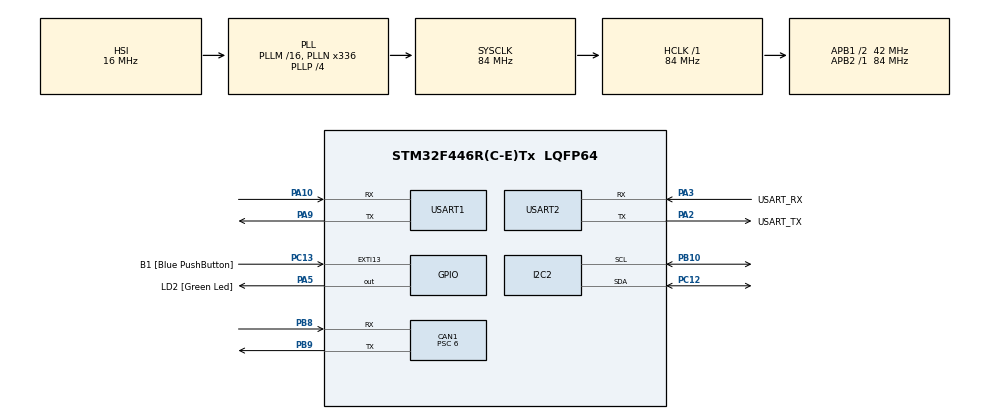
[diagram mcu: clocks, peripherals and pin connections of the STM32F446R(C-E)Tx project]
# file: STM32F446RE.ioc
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CAN1.BS1=CAN_BS1_11TQ
CAN1.BS2=CAN_BS2_2TQ
CAN1.CalculateBaudRate=500000
CAN1.CalculateTimeBit=2000
CAN1.CalculateTimeQuantum=142.85714285714286
CAN1.Prescaler=6
CAN1.SJW=CAN_SJW_1TQ
Mcu.Family=STM32F4
Mcu.Name=STM32F446R(C-E)Tx
Mcu.Package=LQFP64
NVIC.PriorityGroup=NVIC_PRIORITYGROUP_0
NVIC.USART1_IRQn=true\:0\:0\:false\:false\:true\:true\:true\:true
PA10.Mode=Asynchronous
PA10.Signal=USART1_RX
PA13.GPIO_Label=TMS
PA13.Mode=Serial_Wire
PA13.Signal=SYS_JTMS-SWDIO
PA14.GPIO_Label=TCK
PA14.Mode=Serial_Wire
PA14.Signal=SYS_JTCK-SWCLK
PA2.GPIO_Label=USART_TX
PA2.Mode=Asynchronous
PA2.Signal=USART2_TX
PA3.GPIO_Label=USART_RX
PA3.Mode=Asynchronous
PA3.Signal=USART2_RX
PA5.GPIO_Label=LD2 [Green Led]
PA5.Signal=GPIO_Output
PA9.Mode=Asynchronous
PA9.Signal=USART1_TX
PB10.Mode=I2C
PB10.Signal=I2C2_SCL
PB3.GPIO_Label=SWO
PB3.Signal=SYS_JTDO-SWO
PB8.GPIO_Speed=GPIO_SPEED_FREQ_HIGH
PB8.Mode=CAN_Activate
PB8.Signal=CAN1_RX
PB9.GPIO_PuPd=GPIO_NOPULL
PB9.GPIO_Speed=GPIO_SPEED_FREQ_HIGH
PB9.Mode=CAN_Activate
PB9.Signal=CAN1_TX
PC12.Mode=I2C
PC12.Signal=I2C2_SDA
PC13.GPIO_Label=B1 [Blue PushButton]
PC13.GPIO_ModeDefaultEXTI=GPIO_MODE_IT_FALLING
PC13.Signal=GPXTI13
PC14-OSC32_IN.Mode=LSE-External-Oscillator
PC14-OSC32_IN.Signal=RCC_OSC32_IN
PC15-OSC32_OUT.Mode=LSE-External-Oscillator
PC15-OSC32_OUT.Signal=RCC_OSC32_OUT
PH0-OSC_IN.Mode=HSE-External-Oscillator
PH0-OSC_IN.Signal=RCC_OSC_IN
PH1-OSC_OUT.Mode=HSE-External-Oscillator
PH1-OSC_OUT.Signal=RCC_OSC_OUT
ProjectManager.HeapSize=0x200
ProjectManager.StackSize=0x400
ProjectManager.TargetToolchain=CMake
RCC.48MHZClocksFreq_Value=84000000
RCC.AHBFreq_Value=84000000
RCC.APB1CLKDivider=RCC_HCLK_DIV2
RCC.APB1Freq_Value=42000000
RCC.APB1TimFreq_Value=84000000
RCC.APB2Freq_Value=84000000
RCC.APB2TimFreq_Value=84000000
RCC.CortexFreq_Value=84000000
RCC.FLatency-AdvancedSettings=FLASH_LATENCY_2
RCC.HCLKFreq_Value=84000000
RCC.HSE_VALUE=8000000
RCC.HSI_VALUE=16000000
RCC.PLLN=336
RCC.PLLP=RCC_PLLP_DIV4
RCC.SYSCLKFreq_VALUE=84000000
RCC.SYSCLKSource=RCC_SYSCLKSOURCE_PLLCLK
RCC.USBFreq_Value=168000000
RCC.VCOOutputFreq_Value=336000000
USART1.VirtualMode=VM_ASYNC
USART2.VirtualMode=VM_ASYNC
board=NUCLEO-F446RE

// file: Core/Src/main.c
/* USER CODE BEGIN Header */
/**
 ******************************************************************************
 * @file           : main.c
 * @brief          : Main program body
 ******************************************************************************
 * @attention
 *
 * Copyright (c) 2025 STMicroelectronics.
 * All rights reserved.
 *
 * This software is licensed under terms that can be found in the LICENSE file
 * in the root directory of this software component.
 * If no LICENSE file comes with this software, it is provided AS-IS.
 *
 ******************************************************************************
 */
/* USER CODE END Header */
#include "main.h"
#include "can.h"
#include "i2c.h"
#include "usart.h"
#include "gpio.h"

/* USER CODE BEGIN Includes */
#include "BMP280.h"
#include "MPU9250.h"
#include "echo.h"
#include <stdio.h>
#include "motor.h"
/* USER CODE END Includes */

/* USER CODE BEGIN PV */
extern UART_HandleTypeDef huart2;
// char rx[100];
/* USER CODE END PV */

void SystemClock_Config(void);

/* USER CODE BEGIN 0 */

uint8_t rx;
char cmd_buffer[50];
int cmd_index = 0;

void HAL_UART_RxCpltCallback(UART_HandleTypeDef *huart) {
    if (huart->Instance == USART1) {
      HAL_GPIO_TogglePin(LD2_GPIO_Port, LD2_Pin);

        if (rx != 0x00) {
            if (rx != '\n' && rx != '\r' && cmd_index < sizeof(cmd_buffer) - 1) {
                cmd_buffer[cmd_index++] = rx;
            } else if (cmd_index > 0) {
                cmd_buffer[cmd_index] = '\0';
                Rasbpi_protocol(cmd_buffer);
                cmd_index = 0;
            }
        }

        HAL_UART_Transmit(&huart2, (uint8_t *)cmd_buffer, cmd_index, HAL_MAX_DELAY);
        HAL_UART_Receive_IT(&huart1, &rx, 1);

    }
}

/* USER CODE END 0 */

int main(void)
{

  /* MCU Configuration--------------------------------------------------------*/

  /* Reset of all peripherals, Initializes the Flash interface and the Systick. */
  HAL_Init();

  /* Configure the system clock */
  SystemClock_Config();

  /* Initialize all configured peripherals */
  MX_GPIO_Init();
  MX_CAN1_Init();
  MX_USART1_UART_Init();
  MX_USART2_UART_Init();
  MX_I2C2_Init();
  /* USER CODE BEGIN 2 */
  printf("Demarrage du systeme\r\n");
  BMP280_Init();
  BMP280_read_register(0xD0);
  BMP280_write_register(0xF4, 0x57);
  BMP280_write_register(0xF5, 0xA0);
  HAL_Delay(100);

  int raw_temp = BMP280_read_raw_temp();
  int raw_press = BMP280_read_raw_pressure();

  int compensate_temp = bmp280_compensate_T_int32(raw_temp);
  int compensate_press = bmp280_compensate_P_int64(raw_press);

  int temp_celsius = compensate_temp / 100.0f;
  int press_pa = compensate_press / 256.0f;
  int press_hpa = press_pa / 100;
  printf("Temperature compensee: %d °C\r\n", temp_celsius);
  printf("Pression compensee: %d hPa\r\n", press_hpa);

  // int16_t ax, ay, az;
  // int16_t gx, gy, gz;
  // int16_t mx, my, mz;

  // MPU9250_Init();
  // printf("MPU9250 initialized\r\n");
  printf("Motor test\r\n");
  Motor_Test();
  /* USER CODE END 2 */

  /* Infinite loop */
  /* USER CODE BEGIN WHILE */
  while (1) {
    // MPU9250_ReadAccelRaw(&ax, &ay, &az);
    // MPU9250_ReadGyroRaw(&gx, &gy, &gz);
    // MPU9250_ReadMagRaw(&mx, &my, &mz);

    // printf("ACC : %d  %d  %d\n", ax, ay, az);
    // printf("GYR : %d  %d  %d\n", gx, gy, gz);
    // printf("MAG : %d  %d  %d\n\n", mx, my, mz);

    // HAL_Delay(50);
    /* USER CODE END WHILE */

  }
}

void SystemClock_Config(void)
{
  RCC_OscInitTypeDef RCC_OscInitStruct = {0};
  RCC_ClkInitTypeDef RCC_ClkInitStruct = {0};

  /** Configure the main internal regulator output voltage
  */
  __HAL_RCC_PWR_CLK_ENABLE();
  __HAL_PWR_VOLTAGESCALING_CONFIG(PWR_REGULATOR_VOLTAGE_SCALE3);

  /** Initializes the RCC Oscillators according to the specified parameters
  * in the RCC_OscInitTypeDef structure.
  */
  RCC_OscInitStruct.OscillatorType = RCC_OSCILLATORTYPE_HSI;
  RCC_OscInitStruct.HSIState = RCC_HSI_ON;
  RCC_OscInitStruct.HSICalibrationValue = RCC_HSICALIBRATION_DEFAULT;
  RCC_OscInitStruct.PLL.PLLState = RCC_PLL_ON;
  RCC_OscInitStruct.PLL.PLLSource = RCC_PLLSOURCE_HSI;
  RCC_OscInitStruct.PLL.PLLM = 16;
  RCC_OscInitStruct.PLL.PLLN = 336;
  RCC_OscInitStruct.PLL.PLLP = RCC_PLLP_DIV4;
  RCC_OscInitStruct.PLL.PLLQ = 2;
  RCC_OscInitStruct.PLL.PLLR = 2;
  if (HAL_RCC_OscConfig(&RCC_OscInitStruct) != HAL_OK)
  {
    Error_Handler();
  }

  /** Initializes the CPU, AHB and APB buses clocks
  */
  RCC_ClkInitStruct.ClockType = RCC_CLOCKTYPE_HCLK|RCC_CLOCKTYPE_SYSCLK
                              |RCC_CLOCKTYPE_PCLK1|RCC_CLOCKTYPE_PCLK2;
  RCC_ClkInitStruct.SYSCLKSource = RCC_SYSCLKSOURCE_PLLCLK;
  RCC_ClkInitStruct.AHBCLKDivider = RCC_SYSCLK_DIV1;
  RCC_ClkInitStruct.APB1CLKDivider = RCC_HCLK_DIV2;
  RCC_ClkInitStruct.APB2CLKDivider = RCC_HCLK_DIV1;

  if (HAL_RCC_ClockConfig(&RCC_ClkInitStruct, FLASH_LATENCY_2) != HAL_OK)
  {
    Error_Handler();
  }
}

void Error_Handler(void)
{
  __disable_irq();
  while (1) {
  }
}
#ifdef USE_FULL_ASSERT
/**
  * @brief  Reports the name of the source file and the source line number
  *         where the assert_param error has occurred.
  * @param  file: pointer to the source file name
  * @param  line: assert_param error line source number
  * @retval None
  */
void assert_failed(uint8_t *file, uint32_t line)
{
  /* USER CODE BEGIN 6 */
  /* User can add his own implementation to report the file name and line
     number, ex: printf("Wrong parameters value: file %s on line %d\r\n", file,
     line) */
  /* USER CODE END 6 */
}
#endif /* USE_FULL_ASSERT */
